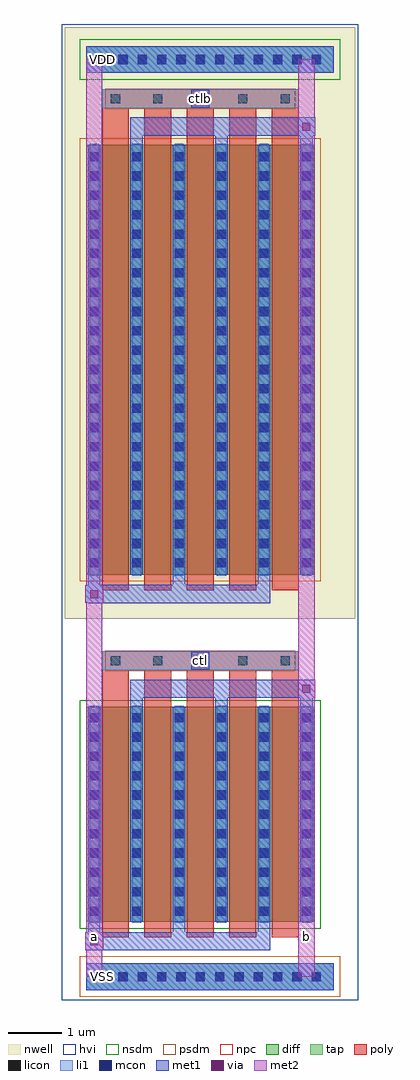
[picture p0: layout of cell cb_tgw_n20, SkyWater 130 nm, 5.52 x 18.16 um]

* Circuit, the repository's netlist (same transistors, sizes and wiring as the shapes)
.subckt cb_tgw_n20 a b ctl ctlb VDD VSS
Mn_0 b ctl a VSS nfet_g5v0d10v5 w=4.000u l=0.500u
Mn_1 b ctl a VSS nfet_g5v0d10v5 w=4.000u l=0.500u
Mn_2 b ctl a VSS nfet_g5v0d10v5 w=4.000u l=0.500u
Mn_3 b ctl a VSS nfet_g5v0d10v5 w=4.000u l=0.500u
Mn_4 b ctl a VSS nfet_g5v0d10v5 w=4.000u l=0.500u
Mp_0 b ctlb a VDD pfet_g5v0d10v5 w=8.000u l=0.500u
Mp_1 b ctlb a VDD pfet_g5v0d10v5 w=8.000u l=0.500u
Mp_2 b ctlb a VDD pfet_g5v0d10v5 w=8.000u l=0.500u
Mp_3 b ctlb a VDD pfet_g5v0d10v5 w=8.000u l=0.500u
Mp_4 b ctlb a VDD pfet_g5v0d10v5 w=8.000u l=0.500u
.ends cb_tgw_n20

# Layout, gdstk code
import gdstk
lib = gdstk.Library(unit=1e-6, precision=1e-09)
def R(c, l, rs):  # rectangles x0, y0, x1, y1
    for r in rs: c.add(gdstk.rectangle(r[:2], r[2:], *l))
def A(c, l, x, y, w, h, nx, ny, dx, dy):  # array of equal rectangles
    R(c, l, [(x+i*dx, y+j*dy, x+i*dx+w, y+j*dy+h) for i in range(nx) for j in range(ny)])
nwell = (64, 20)
diff = (65, 20)
tap = (65, 44)
poly = (66, 20)
licon = (66, 44)
li1 = (67, 20)
mcon = (67, 44)
met1 = (68, 20)
via = (68, 44)
met2 = (69, 20)
hvi = (75, 20)
nsdm = (93, 44)
psdm = (94, 20)
npc = (95, 20)

cb_tgw_n20 = lib.new_cell('cb_tgw_n20')
R(cb_tgw_n20, nwell, [(0.06,7.095,5.46,18.105)])
R(cb_tgw_n20, diff, [(0.46,1.455,4.7,5.455), (0.46,7.915,4.7,15.915)])
R(cb_tgw_n20, tap, [(0.46,0.185,5.06,0.685), (0.46,17.255,5.06,17.755)])
A(cb_tgw_n20, poly, 0.75, 1.17, 0.5, 4.57, 5, 1, 0.79, 0)
A(cb_tgw_n20, poly, 0.75, 5.455, 0.5, 0.86, 5, 2, 0.79, 10.46)
A(cb_tgw_n20, poly, 0.75, 7.63, 0.5, 8.57, 5, 1, 0.79, 0)
R(cb_tgw_n20, poly, [(0.75,6.135,4.41,6.495), (0.75,16.595,4.41,16.955)])
A(cb_tgw_n20, licon, 0.695, 0.35, 0.17, 0.17, 12, 2, 0.36, 17.07)
A(cb_tgw_n20, licon, 0.52, 1.57, 0.17, 0.17, 6, 11, 0.79, 0.36)
A(cb_tgw_n20, licon, 0.915, 6.23, 0.17, 0.17, 5, 2, 0.79, 10.46)
A(cb_tgw_n20, licon, 0.52, 8.05, 0.17, 0.17, 6, 22, 0.79, 0.36)
A(cb_tgw_n20, li1, 0.52, 1.435, 0.17, 4.04, 6, 1, 0.79, 0)
A(cb_tgw_n20, li1, 0.52, 7.895, 0.17, 8.04, 6, 1, 0.79, 0)
R(cb_tgw_n20, li1, [(0.46,0.185,5.06,0.685), (0.75,6.135,4.41,6.495), (0.75,16.595,4.41,16.955), (0.46,17.255,5.06,17.755)])
A(cb_tgw_n20, mcon, 0.695, 0.35, 0.17, 0.17, 12, 2, 0.36, 17.07)
A(cb_tgw_n20, mcon, 0.52, 1.57, 0.17, 0.17, 6, 11, 0.79, 0.36)
A(cb_tgw_n20, mcon, 0.52, 8.05, 0.17, 0.17, 6, 22, 0.79, 0.36)
R(cb_tgw_n20, mcon, [(2.495,6.23,2.665,6.4), (2.495,16.69,2.665,16.86)])
A(cb_tgw_n20, met1, 0.49, 0.925, 0.23, 0.53, 3, 2, 1.58, 6.46)
A(cb_tgw_n20, met1, 0.49, 1.455, 0.23, 4, 6, 1, 0.79, 0)
A(cb_tgw_n20, met1, 1.28, 5.455, 0.23, 0.51, 3, 2, 1.58, 10.46)
A(cb_tgw_n20, met1, 0.49, 7.915, 0.23, 8, 6, 1, 0.79, 0)
R(cb_tgw_n20, met1, [(0.46,0.185,5.06,0.685), (0.49,0.925,3.88,1.265), (0.44,0.93,0.77,1.26), (1.28,5.625,4.67,5.965), (4.555,5.625,4.72,5.965), (4.39,5.63,4.72,5.96), (2.41,6.145,2.75,6.485), (0.49,7.385,3.88,7.725), (0.44,7.39,0.77,7.72), (1.28,16.085,4.67,16.425), (4.555,16.085,4.72,16.425), (4.39,16.09,4.72,16.42), (2.41,16.605,2.75,16.945), (0.46,17.255,5.06,17.755)])
R(cb_tgw_n20, via, [(0.53,1.02,0.68,1.17), (4.48,5.72,4.63,5.87), (0.53,7.48,0.68,7.63), (4.48,16.18,4.63,16.33)])
R(cb_tgw_n20, met2, [(0.455,0.435,0.755,17.505), (4.405,0.435,4.705,17.505), (0.44,0.93,0.77,1.26), (4.39,5.63,4.72,5.96), (0.44,7.39,0.77,7.72), (4.39,16.09,4.72,16.42)])
R(cb_tgw_n20, hvi, [(0,0,5.52,18.165)])
R(cb_tgw_n20, nsdm, [(0.335,1.33,4.825,5.58), (0.335,17.13,5.185,17.88)])
R(cb_tgw_n20, psdm, [(0.335,0.06,5.185,0.81), (0.335,7.79,4.825,16.04)])
R(cb_tgw_n20, npc, [(0.815,6.13,4.345,6.5), (0.815,16.59,4.345,16.96)])
cb_tgw_n20.add(gdstk.Label('ctl', (2.58,6.315), layer=68, texttype=5))
cb_tgw_n20.add(gdstk.Label('ctlb', (2.58,16.775), layer=68, texttype=5))
cb_tgw_n20.add(gdstk.Label('VSS', (0.76,0.435), layer=68, texttype=5))
cb_tgw_n20.add(gdstk.Label('VDD', (0.76,17.505), layer=68, texttype=5))
cb_tgw_n20.add(gdstk.Label('a', (0.605,1.185), layer=69, texttype=5))
cb_tgw_n20.add(gdstk.Label('b', (4.555,1.185), layer=69, texttype=5))

lib.write_gds('cb_tgw_n20.gds')
